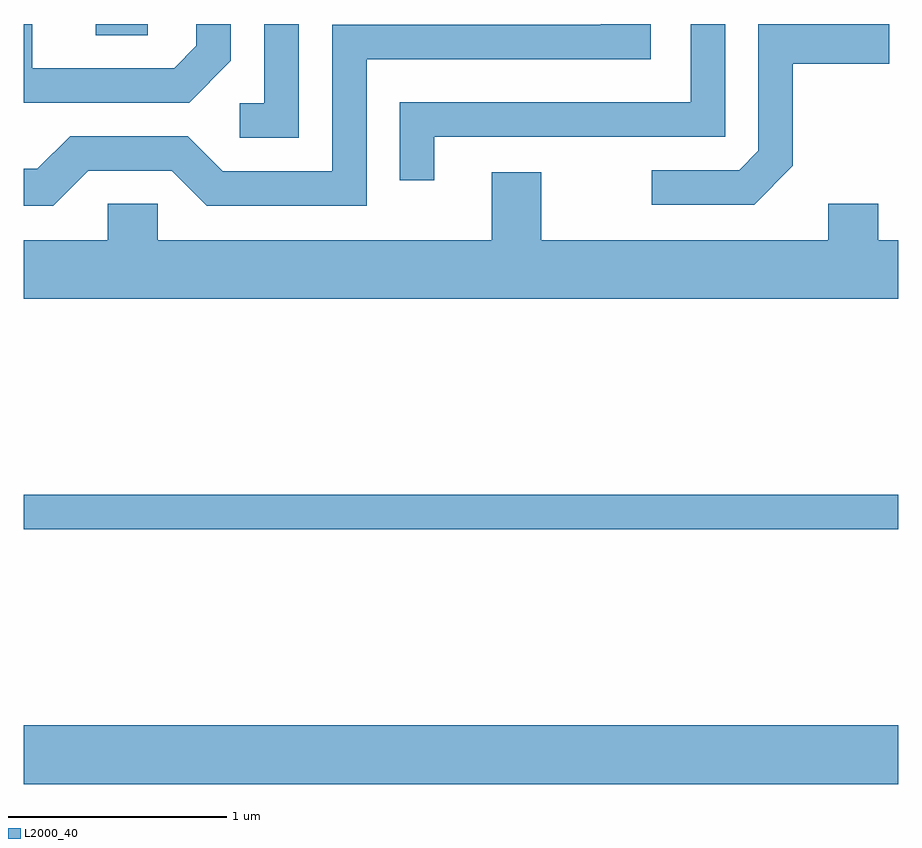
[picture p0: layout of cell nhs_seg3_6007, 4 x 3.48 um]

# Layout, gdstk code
import gdstk
lib = gdstk.Library(unit=1e-6, precision=1e-09)
def R(c, l, rs):  # rectangles x0, y0, x1, y1
    for r in rs: c.add(gdstk.rectangle(r[:2], r[2:], *l))
def P(c, l, *ps):  # polygons
    for p in ps: c.add(gdstk.Polygon(p, *l))
L2000_40 = (2000, 40)

nhs_seg3_6007 = lib.new_cell('nhs_seg3_6007')
R(nhs_seg3_6007, L2000_40, [(361.611,1170.416,365.611,1170.684), (361.611,1171.581,365.611,1171.739), (361.941,1173.841,362.179,1173.892)])
P(nhs_seg3_6007, L2000_40, [(362.869,1173.892),(362.711,1173.892),(362.711,1173.529),(362.598,1173.529),(362.598,1173.371),(362.869,1173.371)],
  [(365.129,1173.244),(365.129,1173.711),(365.569,1173.711),(365.569,1173.892),(364.971,1173.892),(364.971,1173.312),(364.884,1173.224),(364.483,1173.224),(364.483,1173.066),(364.952,1173.066)],
  [(362.559,1173.724),(362.559,1173.892),(362.401,1173.892),(362.401,1173.792),(362.299,1173.689),(361.649,1173.689),(361.649,1173.892),(361.611,1173.892),(361.611,1173.531),(362.367,1173.531)],
  [(361.907,1173.221),(362.289,1173.221),(362.449,1173.061),(363.179,1173.061),(363.179,1173.731),(364.479,1173.731),(364.479,1173.892),(364.251,1173.892),(364.251,1173.889),(363.021,1173.889),(363.021,1173.219),(362.522,1173.219),(362.362,1173.379),(361.824,1173.379),(361.674,1173.229),(361.611,1173.229),(361.611,1173.061),(361.747,1173.061)],
  [(363.489,1173.376),(364.819,1173.376),(364.819,1173.892),(364.661,1173.892),(364.661,1173.534),(363.331,1173.534),(363.331,1173.178),(363.489,1173.178)],
  [(365.611,1172.904),(365.519,1172.904),(365.519,1173.069),(365.291,1173.069),(365.291,1172.904),(363.979,1172.904),(363.979,1173.214),(363.751,1173.214),(363.751,1172.904),(362.224,1172.904),(362.224,1173.069),(361.996,1173.069),(361.996,1172.904),(361.611,1172.904),(361.611,1172.636),(365.611,1172.636)])

lib.write_gds('nhs_seg3_6007.gds')
